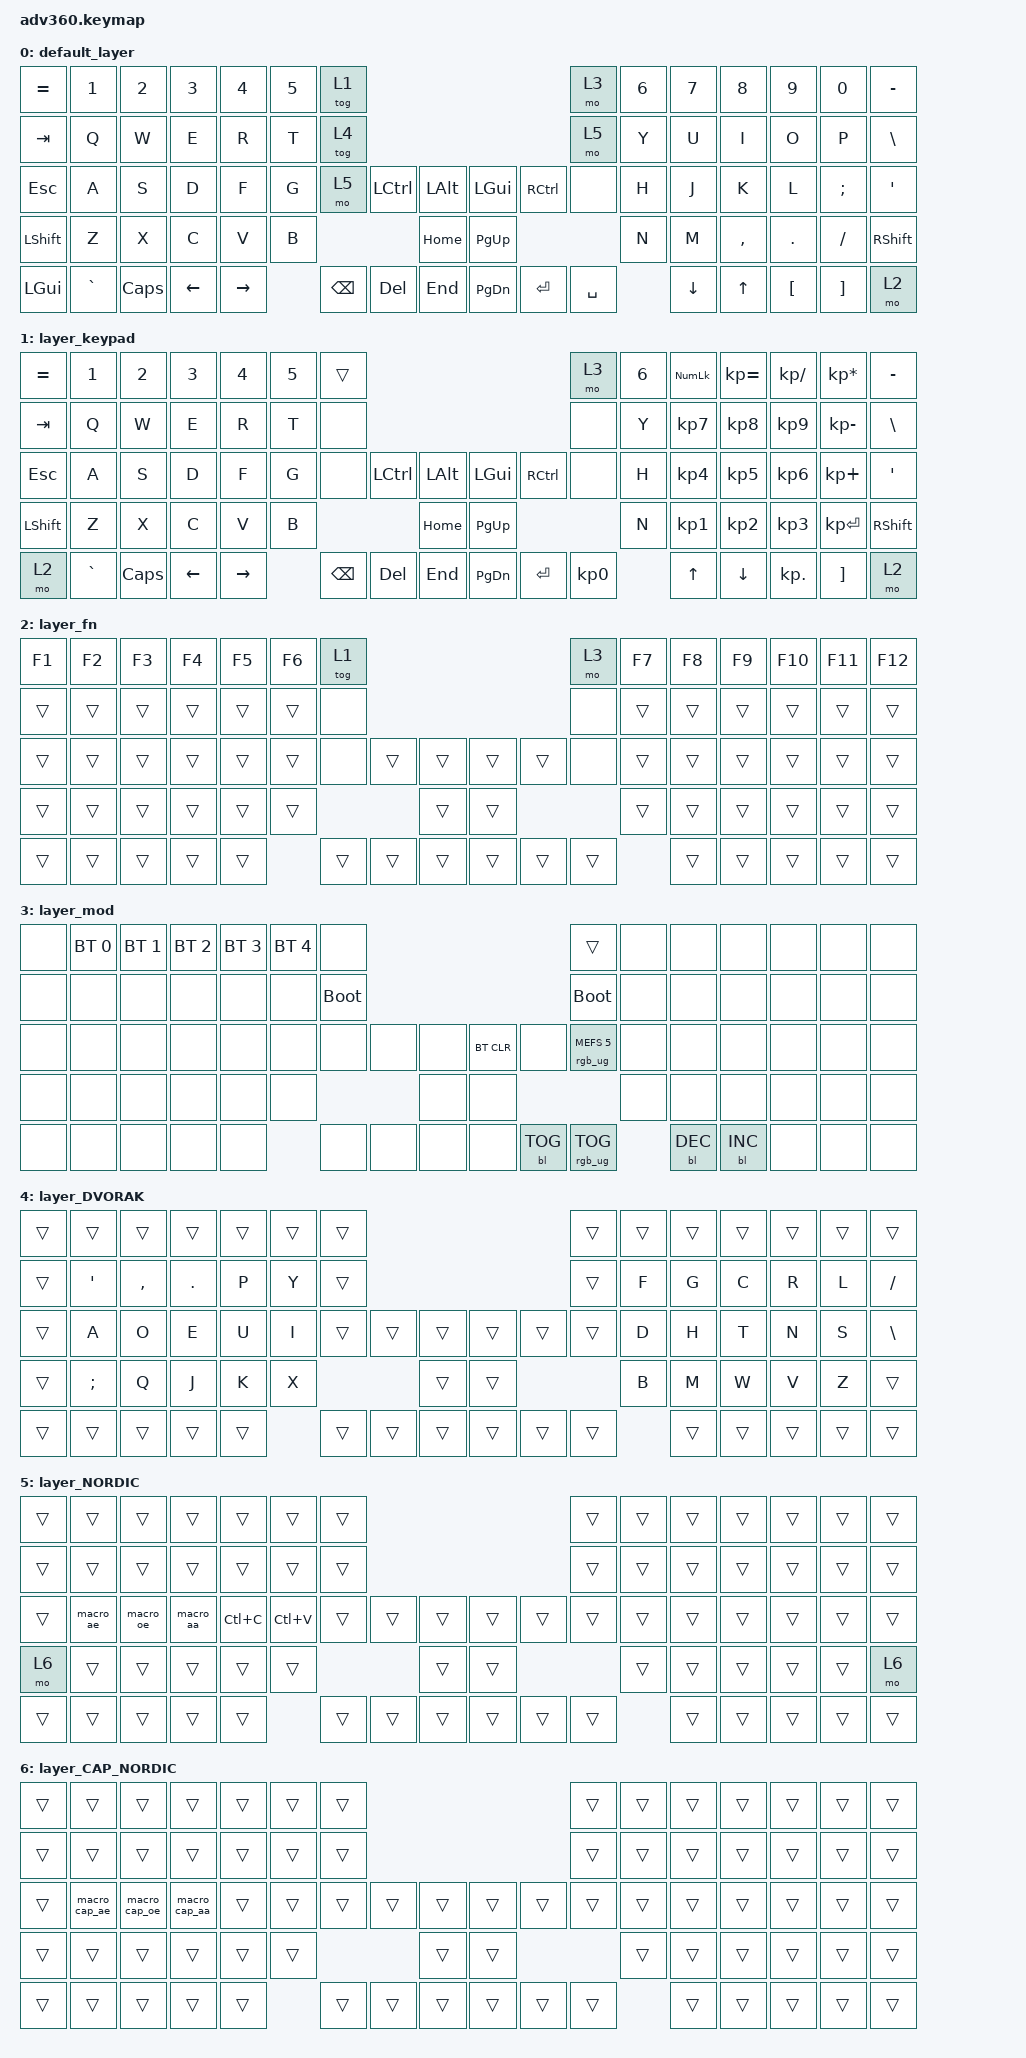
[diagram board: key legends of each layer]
/*
 * Copyright (c) 2020 The ZMK Contributors
 *
 * SPDX-License-Identifier: MIT
 */
/* THIS FILE WAS GENERATED!
 *
 * This file was generated automatically. You may or may not want to
 * edit it directly.
 */

#include <behaviors.dtsi>
#include <dt-bindings/zmk/backlight.h>
#include <dt-bindings/zmk/bt.h>
#include <dt-bindings/zmk/keys.h>
#include <dt-bindings/zmk/rgb.h>

/ {
    behaviors {
        /* #include "macros.dtsi" */

        #include "version.dtsi"

        hm: homerow_mods {
            compatible = "zmk,behavior-hold-tap";
            label = "HOMEROW_MODS";
            #binding-cells = <2>;
            tapping-term-ms = <200>;
            quick_tap_ms = <175>;
            flavor = "tap-preferred";
            bindings = <&kp>, <&kp>;
        };
    };

    macros {
        macro_ae: macro_aa {
            compatible = "zmk,behavior-macro";
            #binding-cells = <0>;
            bindings = <&kp LA(KP_NUMBER_0) &kp LA(KP_NUMBER_2) &kp LA(KP_NUMBER_3) &kp LA(KP_NUMBER_0)>;
            label = "MACRO_AA";
        };

        macro_oe: macro_oe {
            compatible = "zmk,behavior-macro";
            #binding-cells = <0>;
            bindings = <&kp LA(KP_NUMBER_0) &kp LA(KP_NUMBER_2) &kp LA(KP_NUMBER_4) &kp LA(KP_NUMBER_8)>;
            label = "MACRO_OE";
        };

        macro_aa: macro_ae {
            compatible = "zmk,behavior-macro";
            #binding-cells = <0>;
            bindings = <&kp LA(KP_NUMBER_0) &kp LA(KP_NUMBER_2) &kp LA(KP_NUMBER_2) &kp LA(KP_NUMBER_9)>;
            label = "MACRO_AE";
        };

        macro_cap_ae: macro_cap_ae {
            compatible = "zmk,behavior-macro";
            #binding-cells = <0>;
            bindings = <&kp LA(KP_NUMBER_0) &kp LA(KP_NUMBER_1) &kp LA(KP_NUMBER_9) &kp LA(KP_NUMBER_8)>;
            label = "MACRO_CAP_AE";
        };

        macro_cap_oe: macro_cap_oe {
            compatible = "zmk,behavior-macro";
            #binding-cells = <0>;
            bindings = <&kp LA(KP_NUMBER_0) &kp LA(KP_NUMBER_2) &kp LA(KP_NUMBER_1) &kp LA(KP_NUMBER_6)>;
            label = "MACRO_CAP_OE";
        };

        macro_cap_aa: macro_cap_aa {
            compatible = "zmk,behavior-macro";
            #binding-cells = <0>;
            bindings = <&kp LA(KP_NUMBER_0) &kp LA(KP_NUMBER_1) &kp LA(KP_NUMBER_9) &kp KP_NUMBER_7>;
            label = "MACRO_CAP_AA";
        };
    };

    keymap {
        compatible = "zmk,keymap";

        default_layer {
            bindings = <
&kp EQUAL     &kp N1     &kp N2    &kp N3    &kp N4     &kp N5  &tog 1                                                   &mo 3      &kp N6  &kp N7    &kp N8     &kp N9    &kp N0    &kp MINUS
&kp TAB       &kp Q      &kp W     &kp E     &kp R      &kp T   &tog 4                                                   &mo 5      &kp Y   &kp U     &kp I      &kp O     &kp P     &kp BSLH
&kp ESC       &kp A      &kp S     &kp D     &kp F      &kp G   &mo 5     &kp LCTRL  &kp LALT      &kp LGUI   &kp RCTRL  &none      &kp H   &kp J     &kp K      &kp L     &kp SEMI  &kp SQT
&kp LSHFT     &kp Z      &kp X     &kp C     &kp V      &kp B                        &kp HOME      &kp PG_UP                        &kp N   &kp M     &kp COMMA  &kp DOT   &kp FSLH  &kp RSHFT
&kp LEFT_GUI  &kp GRAVE  &kp CAPS  &kp LEFT  &kp RIGHT          &kp BSPC  &kp DEL    &kp END       &kp PG_DN  &kp ENTER  &kp SPACE          &kp DOWN  &kp UP     &kp LBKT  &kp RBKT  &mo 2
            >;
        };

        layer_keypad {
            bindings = <
&kp EQUAL  &kp N1     &kp N2    &kp N3    &kp N4     &kp N5  &trans                                                   &mo 3      &kp N6  &kp KP_NUM  &kp KP_EQUAL  &kp KP_DIVIDE  &kp KP_MULTIPLY  &kp MINUS
&kp TAB    &kp Q      &kp W     &kp E     &kp R      &kp T   &none                                                    &none      &kp Y   &kp KP_N7   &kp KP_N8     &kp KP_N9      &kp KP_MINUS     &kp BSLH
&kp ESC    &kp A      &kp S     &kp D     &kp F      &kp G   &none     &kp LCTRL  &kp LALT      &kp LGUI   &kp RCTRL  &none      &kp H   &kp KP_N4   &kp KP_N5     &kp KP_N6      &kp KP_PLUS      &kp SQT
&kp LSHFT  &kp Z      &kp X     &kp C     &kp V      &kp B                        &kp HOME      &kp PG_UP                        &kp N   &kp KP_N1   &kp KP_N2     &kp KP_N3      &kp KP_ENTER     &kp RSHFT
&mo 2      &kp GRAVE  &kp CAPS  &kp LEFT  &kp RIGHT          &kp BSPC  &kp DEL    &kp END       &kp PG_DN  &kp ENTER  &kp KP_N0          &kp UP      &kp DOWN      &kp KP_DOT     &kp RBKT         &mo 2
            >;
        };

        layer_fn {
            bindings = <
&kp F1  &kp F2  &kp F3  &kp F4  &kp F5  &kp F6  &tog 1                                      &mo 3   &kp F7  &kp F8  &kp F9  &kp F10  &kp F11  &kp F12
&trans  &trans  &trans  &trans  &trans  &trans  &none                                       &none   &trans  &trans  &trans  &trans   &trans   &trans
&trans  &trans  &trans  &trans  &trans  &trans  &none   &trans  &trans      &trans  &trans  &none   &trans  &trans  &trans  &trans   &trans   &trans
&trans  &trans  &trans  &trans  &trans  &trans                  &trans      &trans                  &trans  &trans  &trans  &trans   &trans   &trans
&trans  &trans  &trans  &trans  &trans          &trans  &trans  &trans      &trans  &trans  &trans          &trans  &trans  &trans   &trans   &trans
            >;
        };

        layer_mod {
            bindings = <
&none  &bt BT_SEL 0  &bt BT_SEL 1  &bt BT_SEL 2  &bt BT_SEL 3  &bt BT_SEL 4  &none                                                  &trans                  &none  &none       &none       &none  &none  &none
&none  &none         &none         &none         &none         &none         &bootloader                                            &bootloader             &none  &none       &none       &none  &none  &none
&none  &none         &none         &none         &none         &none         &none        &none  &none      &bt BT_CLR  &none       &rgb_ug RGB_MEFS_CMD 5  &none  &none       &none       &none  &none  &none
&none  &none         &none         &none         &none         &none                             &none      &none                                           &none  &none       &none       &none  &none  &none
&none  &none         &none         &none         &none                       &none        &none  &none      &none       &bl BL_TOG  &rgb_ug RGB_TOG                &bl BL_DEC  &bl BL_INC  &none  &none  &none
            >;
        };

        layer_DVORAK {
            bindings = <
&trans  &trans    &trans     &trans   &trans  &trans  &trans                                      &trans  &trans  &trans  &trans  &trans  &trans  &trans
&trans  &kp SQT   &kp COMMA  &kp DOT  &kp P   &kp Y   &trans                                      &trans  &kp F   &kp G   &kp C   &kp R   &kp L   &kp FSLH
&trans  &kp A     &kp O      &kp E    &kp U   &kp I   &trans  &trans  &trans      &trans  &trans  &trans  &kp D   &kp H   &kp T   &kp N   &kp S   &kp BSLH
&trans  &kp SEMI  &kp Q      &kp J    &kp K   &kp X                   &trans      &trans                  &kp B   &kp M   &kp W   &kp V   &kp Z   &trans
&trans  &trans    &trans     &trans   &trans          &trans  &trans  &trans      &trans  &trans  &trans          &trans  &trans  &trans  &trans  &trans
            >;
        };

        layer_NORDIC {
            bindings = <
&trans  &trans     &trans     &trans     &trans     &trans     &trans                                      &trans  &trans  &trans  &trans  &trans  &trans  &trans
&trans  &trans     &trans     &trans     &trans     &trans     &trans                                      &trans  &trans  &trans  &trans  &trans  &trans  &trans
&trans  &macro_ae  &macro_oe  &macro_aa  &kp LC(C)  &kp LC(V)  &trans  &trans  &trans      &trans  &trans  &trans  &trans  &trans  &trans  &trans  &trans  &trans
&mo 6   &trans     &trans     &trans     &trans     &trans                     &trans      &trans                  &trans  &trans  &trans  &trans  &trans  &mo 6
&trans  &trans     &trans     &trans     &trans                &trans  &trans  &trans      &trans  &trans  &trans          &trans  &trans  &trans  &trans  &trans
            >;
        };

        layer_CAP_NORDIC {
            bindings = <
&trans  &trans         &trans         &trans         &trans  &trans  &trans                                      &trans  &trans  &trans  &trans  &trans  &trans  &trans
&trans  &trans         &trans         &trans         &trans  &trans  &trans                                      &trans  &trans  &trans  &trans  &trans  &trans  &trans
&trans  &macro_cap_ae  &macro_cap_oe  &macro_cap_aa  &trans  &trans  &trans  &trans  &trans      &trans  &trans  &trans  &trans  &trans  &trans  &trans  &trans  &trans
&trans  &trans         &trans         &trans         &trans  &trans                  &trans      &trans                  &trans  &trans  &trans  &trans  &trans  &trans
&trans  &trans         &trans         &trans         &trans          &trans  &trans  &trans      &trans  &trans  &trans          &trans  &trans  &trans  &trans  &trans
            >;
        };
    };
};
